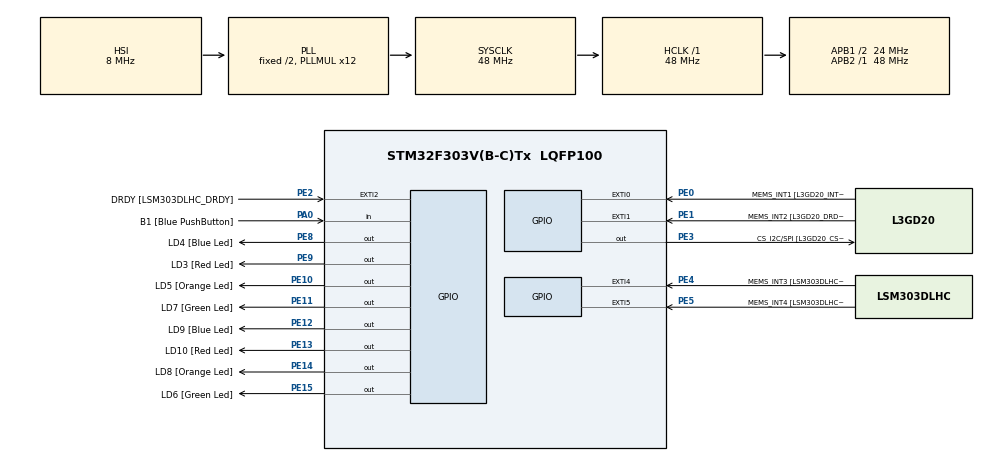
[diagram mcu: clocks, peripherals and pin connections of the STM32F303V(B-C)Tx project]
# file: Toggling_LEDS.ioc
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Mcu.Family=STM32F3
Mcu.Name=STM32F303V(B-C)Tx
Mcu.Package=LQFP100
NVIC.PriorityGroup=NVIC_PRIORITYGROUP_4
NVIC.TIM6_DAC_IRQn=true\:15\:0\:false\:false\:true\:false\:true\:true
NVIC.TimeBase=TIM6_DAC_IRQn
NVIC.TimeBaseIP=TIM6
PA0.GPIO_Label=B1 [Blue PushButton]
PA0.GPIO_Mode=GPIO_MODE_INPUT
PA0.GPIO_PuPd=GPIO_NOPULL
PA0.Signal=GPIO_Input
PA11.GPIO_Label=DM
PA11.Signal=USB_DM
PA12.GPIO_Label=DP
PA12.Signal=USB_DP
PA13.GPIO_Label=SWDIO
PA13.Signal=SYS_JTMS-SWDIO
PA14.GPIO_Label=SWCLK
PA14.Signal=SYS_JTCK-SWCLK
PA5.GPIO_Label=SPI1_SCK [L3GD20_SCL/SPC]
PA5.GPIO_Mode=GPIO_MODE_AF_PP
PA5.GPIO_PuPd=GPIO_NOPULL
PA5.GPIO_Speed=GPIO_SPEED_FREQ_LOW
PA5.Signal=SPI1_SCK
PA6.GPIO_Label=SPI1_MISO [L3GD20_SA0/SDO]
PA6.GPIO_Mode=GPIO_MODE_AF_PP
PA6.GPIO_PuPd=GPIO_NOPULL
PA6.GPIO_Speed=GPIO_SPEED_FREQ_LOW
PA6.Signal=SPI1_MISO
PA7.GPIO_Label=SPI1_MISO [L3GD20_SDA/SDI/SDO]
PA7.GPIO_Mode=GPIO_MODE_AF_PP
PA7.GPIO_PuPd=GPIO_NOPULL
PA7.GPIO_Speed=GPIO_SPEED_FREQ_LOW
PA7.Signal=SPI1_MOSI
PB3.GPIO_Label=SWO
PB3.Signal=SYS_JTDO-TRACESWO
PB6.GPIO_FM6=__NULL
PB6.GPIO_Label=I2C1_SCL [LSM303DLHC_SCL]
PB6.GPIO_Mode=GPIO_MODE_AF_OD
PB6.GPIO_PuPd=GPIO_NOPULL
PB6.GPIO_Speed=GPIO_SPEED_FREQ_LOW
PB6.Signal=I2C1_SCL
PB7.GPIO_FM7=__NULL
PB7.GPIO_Label=I2C1_SDA [LSM303DLHC_SDA]
PB7.GPIO_Mode=GPIO_MODE_AF_OD
PB7.GPIO_PuPd=GPIO_NOPULL
PB7.GPIO_Speed=GPIO_SPEED_FREQ_LOW
PB7.Signal=I2C1_SDA
PC14-OSC32_IN.GPIO_Label=OSC32_IN
PC14-OSC32_IN.Signal=RCC_OSC32_IN
PC15-OSC32_OUT.GPIO_Label=OSC32_OUT
PC15-OSC32_OUT.Signal=RCC_OSC32_OUT
PE0.GPIO_Label=MEMS_INT1 [L3GD20_INT1]
PE0.GPIO_ModeDefaultEXTI=GPIO_MODE_EVT_RISING
PE0.GPIO_PuPd=GPIO_NOPULL
PE0.Signal=GPXTI0
PE1.GPIO_Label=MEMS_INT2 [L3GD20_DRDY/INT2]
PE1.GPIO_ModeDefaultEXTI=GPIO_MODE_EVT_RISING
PE1.GPIO_PuPd=GPIO_NOPULL
PE1.Signal=GPXTI1
PE10.GPIO_Label=LD5 [Orange Led]
PE10.GPIO_ModeDefaultOutputPP=GPIO_MODE_OUTPUT_PP
PE10.GPIO_PuPd=GPIO_NOPULL
PE10.GPIO_Speed=GPIO_SPEED_FREQ_LOW
PE10.Signal=GPIO_Output
PE11.GPIO_Label=LD7 [Green Led]
PE11.GPIO_ModeDefaultOutputPP=GPIO_MODE_OUTPUT_PP
PE11.GPIO_PuPd=GPIO_NOPULL
PE11.GPIO_Speed=GPIO_SPEED_FREQ_LOW
PE11.Signal=GPIO_Output
PE12.GPIO_Label=LD9 [Blue Led]
PE12.GPIO_ModeDefaultOutputPP=GPIO_MODE_OUTPUT_PP
PE12.GPIO_PuPd=GPIO_NOPULL
PE12.GPIO_Speed=GPIO_SPEED_FREQ_LOW
PE12.Signal=GPIO_Output
PE13.GPIO_Label=LD10 [Red Led]
PE13.GPIO_ModeDefaultOutputPP=GPIO_MODE_OUTPUT_PP
PE13.GPIO_PuPd=GPIO_NOPULL
PE13.GPIO_Speed=GPIO_SPEED_FREQ_LOW
PE13.Signal=GPIO_Output
PE14.GPIO_Label=LD8 [Orange Led]
PE14.GPIO_ModeDefaultOutputPP=GPIO_MODE_OUTPUT_PP
PE14.GPIO_PuPd=GPIO_NOPULL
PE14.GPIO_Speed=GPIO_SPEED_FREQ_LOW
PE14.Signal=GPIO_Output
PE15.GPIO_Label=LD6 [Green Led]
PE15.GPIO_ModeDefaultOutputPP=GPIO_MODE_OUTPUT_PP
PE15.GPIO_PuPd=GPIO_NOPULL
PE15.GPIO_Speed=GPIO_SPEED_FREQ_LOW
PE15.Signal=GPIO_Output
PE2.GPIO_Label=DRDY [LSM303DLHC_DRDY]
PE2.GPIO_ModeDefaultEXTI=GPIO_MODE_EVT_RISING
PE2.GPIO_PuPd=GPIO_NOPULL
PE2.Signal=GPXTI2
PE3.GPIO_Label=CS_I2C/SPI [L3GD20_CS_I2C/SPI]
PE3.GPIO_ModeDefaultOutputPP=GPIO_MODE_OUTPUT_PP
PE3.GPIO_PuPd=GPIO_NOPULL
PE3.GPIO_Speed=GPIO_SPEED_FREQ_LOW
PE3.Signal=GPIO_Output
PE4.GPIO_Label=MEMS_INT3 [LSM303DLHC_INT1]
PE4.GPIO_ModeDefaultEXTI=GPIO_MODE_EVT_RISING
PE4.GPIO_PuPd=GPIO_NOPULL
PE4.Signal=GPXTI4
PE5.GPIO_Label=MEMS_INT4 [LSM303DLHC_INT2]
PE5.GPIO_ModeDefaultEXTI=GPIO_MODE_EVT_RISING
PE5.GPIO_PuPd=GPIO_NOPULL
PE5.Signal=GPXTI5
PE8.GPIO_Label=LD4 [Blue Led]
PE8.GPIO_ModeDefaultOutputPP=GPIO_MODE_OUTPUT_PP
PE8.GPIO_PuPd=GPIO_NOPULL
PE8.GPIO_Speed=GPIO_SPEED_FREQ_LOW
PE8.Signal=GPIO_Output
PE9.GPIO_Label=LD3 [Red Led]
PE9.GPIO_ModeDefaultOutputPP=GPIO_MODE_OUTPUT_PP
PE9.GPIO_PuPd=GPIO_NOPULL
PE9.GPIO_Speed=GPIO_SPEED_FREQ_LOW
PE9.Signal=GPIO_Output
PF0-OSC_IN.GPIO_Label=OSC_IN
PF0-OSC_IN.Signal=RCC_OSC_IN
PF1-OSC_OUT.GPIO_Label=OSC_OUT
PF1-OSC_OUT.Signal=RCC_OSC_OUT
ProjectManager.HeapSize=0x200
ProjectManager.StackSize=0x400
ProjectManager.TargetToolchain=STM32CubeIDE
RCC.AHBFreq_Value=48000000
RCC.APB1CLKDivider=RCC_HCLK_DIV2
RCC.APB1Freq_Value=24000000
RCC.APB1TimFreq_Value=48000000
RCC.APB2Freq_Value=48000000
RCC.APB2TimFreq_Value=48000000
RCC.CortexFreq_Value=48000000
RCC.HCLKFreq_Value=48000000
RCC.HSE_VALUE=8000000
RCC.HSI_VALUE=8000000
RCC.LSE_VALUE=32768
RCC.PLLMUL=RCC_PLL_MUL12
RCC.SYSCLKFreq_VALUE=48000000
RCC.SYSCLKSourceVirtual=RCC_SYSCLKSOURCE_PLLCLK
RCC.USBFreq_Value=48000000
VP_SYS_VS_tim6.Mode=TIM6
board=STM32F3DISCOVERY

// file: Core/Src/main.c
/* USER CODE BEGIN Header */
/**
  ******************************************************************************
  * @file           : main.c
  * @brief          : Main program body
  ******************************************************************************
  * @attention
  *
  * Copyright (c) 2023 STMicroelectronics.
  * All rights reserved.
  *
  * This software is licensed under terms that can be found in the LICENSE file
  * in the root directory of this software component.
  * If no LICENSE file comes with this software, it is provided AS-IS.
  *
  ******************************************************************************
  */
/* USER CODE END Header */
#include "main.h"

/* USER CODE BEGIN Includes */
#include <stdio.h>
#include"FreeRTOS.h"
#include "task.h"
/* USER CODE END Includes */

/* USER CODE BEGIN PV */
#define DWT_CTRL		(*(volatile uint32_t *) 0xE0001000)
/* USER CODE END PV */

void SystemClock_Config(void);
static void MX_GPIO_Init(void);
/* USER CODE BEGIN PFP */
static void toggle_LED1_handler(void* parameters);
static void toggle_LED2_handler(void* parameters);
static void toggle_LED3_handler(void* parameters);

/* USER CODE END PFP */

int main(void)
{
  /* USER CODE BEGIN 1 */
	TaskHandle_t toggle_LED1_handle;
	TaskHandle_t toggle_LED2_handle;
	TaskHandle_t toggle_LED3_handle;
	BaseType_t Status;
  /* USER CODE END 1 */

  /* MCU Configuration--------------------------------------------------------*/

  /* Reset of all peripherals, Initializes the Flash interface and the Systick. */
  HAL_Init();

  /* Configure the system clock */
  SystemClock_Config();

  /* Initialize all configured peripherals */
  MX_GPIO_Init();
  /* USER CODE BEGIN 2 */
  DWT_CTRL |= (1 << 0);

  SEGGER_SYSVIEW_Conf();

  SEGGER_SYSVIEW_Start();

  Status = xTaskCreate(toggle_LED1_handler, "Toggle LED 1", configMINIMAL_STACK_SIZE, "LED 1 toggled", 2, &toggle_LED1_handle );
  configASSERT(Status == pdPASS);

  Status = xTaskCreate(toggle_LED2_handler, "Toggle LED 2", configMINIMAL_STACK_SIZE, "LED 2 toggled", 2, &toggle_LED2_handle );
  configASSERT(Status == pdPASS);

  Status = xTaskCreate(toggle_LED3_handler, "Toggle LED 3", configMINIMAL_STACK_SIZE, "LED 3 toggled", 2, &toggle_LED3_handle );
  configASSERT(Status == pdPASS);

  //START SCHEDULER
  vTaskStartScheduler();
  /* USER CODE END 2 */

  /* Infinite loop */
  while (1)
  {

  }
}

void SystemClock_Config(void)
{
  RCC_OscInitTypeDef RCC_OscInitStruct = {0};
  RCC_ClkInitTypeDef RCC_ClkInitStruct = {0};

  /** Initializes the RCC Oscillators according to the specified parameters
  * in the RCC_OscInitTypeDef structure.
  */
  RCC_OscInitStruct.OscillatorType = RCC_OSCILLATORTYPE_HSI;
  RCC_OscInitStruct.HSIState = RCC_HSI_ON;
  RCC_OscInitStruct.HSICalibrationValue = RCC_HSICALIBRATION_DEFAULT;
  RCC_OscInitStruct.PLL.PLLState = RCC_PLL_ON;
  RCC_OscInitStruct.PLL.PLLSource = RCC_PLLSOURCE_HSI;
  RCC_OscInitStruct.PLL.PLLMUL = RCC_PLL_MUL12;
  if (HAL_RCC_OscConfig(&RCC_OscInitStruct) != HAL_OK)
  {
    Error_Handler();
  }

  /** Initializes the CPU, AHB and APB buses clocks
  */
  RCC_ClkInitStruct.ClockType = RCC_CLOCKTYPE_HCLK|RCC_CLOCKTYPE_SYSCLK
                              |RCC_CLOCKTYPE_PCLK1|RCC_CLOCKTYPE_PCLK2;
  RCC_ClkInitStruct.SYSCLKSource = RCC_SYSCLKSOURCE_PLLCLK;
  RCC_ClkInitStruct.AHBCLKDivider = RCC_SYSCLK_DIV1;
  RCC_ClkInitStruct.APB1CLKDivider = RCC_HCLK_DIV2;
  RCC_ClkInitStruct.APB2CLKDivider = RCC_HCLK_DIV1;

  if (HAL_RCC_ClockConfig(&RCC_ClkInitStruct, FLASH_LATENCY_1) != HAL_OK)
  {
    Error_Handler();
  }
}

static void MX_GPIO_Init(void)
{
  GPIO_InitTypeDef GPIO_InitStruct = {0};

  /* GPIO Ports Clock Enable */
  __HAL_RCC_GPIOE_CLK_ENABLE();
  __HAL_RCC_GPIOC_CLK_ENABLE();
  __HAL_RCC_GPIOF_CLK_ENABLE();
  __HAL_RCC_GPIOA_CLK_ENABLE();
  __HAL_RCC_GPIOB_CLK_ENABLE();

  /*Configure GPIO pin Output Level */
  HAL_GPIO_WritePin(GPIOE, CS_I2C_SPI_Pin|LD4_Pin|LD3_Pin|LD5_Pin
                          |LD7_Pin|LD9_Pin|LD10_Pin|LD8_Pin
                          |LD6_Pin, GPIO_PIN_RESET);

  /*Configure GPIO pins : DRDY_Pin MEMS_INT3_Pin MEMS_INT4_Pin MEMS_INT1_Pin
                           MEMS_INT2_Pin */
  GPIO_InitStruct.Pin = DRDY_Pin|MEMS_INT3_Pin|MEMS_INT4_Pin|MEMS_INT1_Pin
                          |MEMS_INT2_Pin;
  GPIO_InitStruct.Mode = GPIO_MODE_EVT_RISING;
  GPIO_InitStruct.Pull = GPIO_NOPULL;
  HAL_GPIO_Init(GPIOE, &GPIO_InitStruct);

  /*Configure GPIO pins : CS_I2C_SPI_Pin LD4_Pin LD3_Pin LD5_Pin
                           LD7_Pin LD9_Pin LD10_Pin LD8_Pin
                           LD6_Pin */
  GPIO_InitStruct.Pin = CS_I2C_SPI_Pin|LD4_Pin|LD3_Pin|LD5_Pin
                          |LD7_Pin|LD9_Pin|LD10_Pin|LD8_Pin
                          |LD6_Pin;
  GPIO_InitStruct.Mode = GPIO_MODE_OUTPUT_PP;
  GPIO_InitStruct.Pull = GPIO_NOPULL;
  GPIO_InitStruct.Speed = GPIO_SPEED_FREQ_LOW;
  HAL_GPIO_Init(GPIOE, &GPIO_InitStruct);

  /*Configure GPIO pin : B1_Pin */
  GPIO_InitStruct.Pin = B1_Pin;
  GPIO_InitStruct.Mode = GPIO_MODE_INPUT;
  GPIO_InitStruct.Pull = GPIO_NOPULL;
  HAL_GPIO_Init(B1_GPIO_Port, &GPIO_InitStruct);

  /*Configure GPIO pins : SPI1_SCK_Pin SPI1_MISO_Pin SPI1_MISOA7_Pin */
  GPIO_InitStruct.Pin = SPI1_SCK_Pin|SPI1_MISO_Pin|SPI1_MISOA7_Pin;
  GPIO_InitStruct.Mode = GPIO_MODE_AF_PP;
  GPIO_InitStruct.Pull = GPIO_NOPULL;
  GPIO_InitStruct.Speed = GPIO_SPEED_FREQ_LOW;
  GPIO_InitStruct.Alternate = GPIO_AF5_SPI1;
  HAL_GPIO_Init(GPIOA, &GPIO_InitStruct);

  /*Configure GPIO pins : DM_Pin DP_Pin */
  GPIO_InitStruct.Pin = DM_Pin|DP_Pin;
  GPIO_InitStruct.Mode = GPIO_MODE_AF_PP;
  GPIO_InitStruct.Pull = GPIO_NOPULL;
  GPIO_InitStruct.Speed = GPIO_SPEED_FREQ_HIGH;
  GPIO_InitStruct.Alternate = GPIO_AF14_USB;
  HAL_GPIO_Init(GPIOA, &GPIO_InitStruct);

  /*Configure GPIO pins : I2C1_SCL_Pin I2C1_SDA_Pin */
  GPIO_InitStruct.Pin = I2C1_SCL_Pin|I2C1_SDA_Pin;
  GPIO_InitStruct.Mode = GPIO_MODE_AF_OD;
  GPIO_InitStruct.Pull = GPIO_NOPULL;
  GPIO_InitStruct.Speed = GPIO_SPEED_FREQ_LOW;
  GPIO_InitStruct.Alternate = GPIO_AF4_I2C1;
  HAL_GPIO_Init(GPIOB, &GPIO_InitStruct);

}

/* USER CODE BEGIN 4 */
static void toggle_LED1_handler(void* parameters){

	TickType_t xLastWakeTime;
	const TickType_t xFrequency = pdMS_TO_TICKS(1000);
	xLastWakeTime = xTaskGetTickCount();
//	char msg[100];
	while(1){
		//printf("%s\n", (char*) parameters);
//		snprintf(msg, 100, "%s\n", (char*)parameters);
//		SEGGER_SYSVIEW_PrintfTarget(msg);
		HAL_GPIO_TogglePin(GPIOE,GPIO_PIN_8);
		vTaskDelayUntil(&xLastWakeTime, xFrequency);
		//taskYIELD();
	}
}

static void toggle_LED2_handler(void* parameters){
	TickType_t xLastWakeTime;
	const TickType_t xFrequency = pdMS_TO_TICKS(500);
	xLastWakeTime = xTaskGetTickCount();
//	char msg[100];
	while(1){
		//printf("%s\n", (char*) parameters);
//		snprintf(msg, 100, "%s\n", (char*)parameters);
//		SEGGER_SYSVIEW_PrintfTarget(msg);
		//taskYIELD();
		HAL_GPIO_TogglePin(GPIOE,GPIO_PIN_9);
		vTaskDelayUntil(&xLastWakeTime, xFrequency);
	}
}

static void toggle_LED3_handler(void* parameters){
	TickType_t xLastWakeTime;
	const TickType_t xFrequency = pdMS_TO_TICKS(250);
	xLastWakeTime = xTaskGetTickCount();
//	char msg[100];
	while(1){
		//printf("%s\n", (char*) parameters);
//		snprintf(msg, 100, "%s\n", (char*)parameters);
//		SEGGER_SYSVIEW_PrintfTarget(msg);
		//taskYIELD();
		HAL_GPIO_TogglePin(GPIOE,GPIO_PIN_10);
		vTaskDelayUntil(&xLastWakeTime, xFrequency);
	}
}

/* USER CODE END 4 */

void HAL_TIM_PeriodElapsedCallback(TIM_HandleTypeDef *htim)
{
  if (htim->Instance == TIM6) {
    HAL_IncTick();
  }
}

void Error_Handler(void)
{
  __disable_irq();
  while (1)
  {
  }
}
